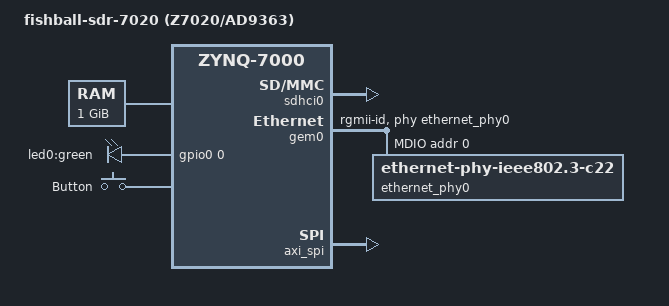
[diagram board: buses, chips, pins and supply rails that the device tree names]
// SPDX-License-Identifier: GPL-2.0
/*
 * fishball-sdr-7020: Zynq-7020 (xc7z020clg400-2) + AD9363, LVDS interface,
 * 1 GB DDR3 (32 bit), GbE (RGMII, Realtek PHY), SD card, 16 MB QSPI.
 *
 * Based on the ADI PlutoSDR device tree; board parameters from the
 * Fish-Wan plutosdr-fw-7020-SDR project.
 *
 * hdl_project: <boards/fishball/hdl>
 */
/dts-v1/;
#include "zynq-pluto-sdr.dtsi"
#include <dt-bindings/input/input.h>
#include <dt-bindings/gpio/gpio.h>
#include <dt-bindings/interrupt-controller/irq.h>

/ {
	model = "fishball-sdr-7020 (Z7020/AD9363)";
	compatible = "fishball,sdr-7020", "xlnx,zynq-7000";

	memory {
		device_type = "memory";
		reg = <0x00000000 0x40000000>;
	};

	aliases {
		ethernet0 = &gem0;
		mmc0 = &sdhci0;
	};

	leds {
		compatible = "gpio-leds";
		led0 {
			label = "led0:green";
			gpios = <&gpio0 0 GPIO_ACTIVE_HIGH>;
			linux,default-trigger = "heartbeat";
		};
	};

	gpio_keys {
		compatible = "gpio-keys";
		#address-cells = <1>;
		#size-cells = <0>;

		button {
			interrupt-parent = <&gpio0>;
			interrupts = <10 IRQ_TYPE_EDGE_FALLING>;
			label = "Button";
			linux,code = <BTN_MISC>;
		};
	};
};

&ad9364_clkin {
	clock-accuracy = <500>; /* ppb, as in the Fish-Wan board files */
};

&usb0 {
	xlnx,phy-reset-gpio = <&gpio0 46 GPIO_ACTIVE_LOW>;
};

&sdhci0 {
	status = "okay";
	disable-wp;
	broken-cd;
};

&gem0 {
	status = "okay";
	phy-mode = "rgmii-id";
	phy-handle = <&ethernet_phy0>;

	mdio {
		#address-cells = <1>;
		#size-cells = <0>;

		ethernet_phy0: ethernet-phy@0 {
			compatible = "ethernet-phy-ieee802.3-c22";
			reg = <0>;
		};
	};
};

/* 16 MB flash: shrink the Linux partition from Pluto's 30 MB */
&primary_flash {
	partition@qspi-linux {
		reg = <0x200000 0xE00000>; /* 14M */
	};
};

&fpga_axi {
	axi_spi: spi@7c430000 {
		#address-cells = <1>;
		#size-cells = <0>;
		bits-per-word = <8>;
		compatible = "xlnx,xps-spi-2.00.a";
		fifo-size = <16>;
		interrupt-parent = <&intc>;
		interrupts = <0 55 IRQ_TYPE_LEVEL_HIGH>;
		num-cs = <0x1>;
		reg = <0x7c430000 0x10000>;
		xlnx,num-ss-bits = <0x1>;
		xlnx,spi-mode = <0>;
	};
};

&adc0_ad9364 {
	/* LVDS interface instead of Pluto's CMOS */
	/delete-property/ adi,full-port-enable;
	/delete-property/ adi,digital-interface-tune-fir-disable;
	/delete-property/ adi,swap-ports-enable;

	adi,lvds-mode-enable;
	adi,lvds-bias-mV = <150>;
	adi,lvds-rx-onchip-termination-enable;
	adi,rx-data-delay = <4>;
	adi,tx-fb-clock-delay = <7>;
	adi,tx-data-delay = <9>;

	/* This property is controlled by u-boot environment. */
	adi,2rx-2tx-mode-enable;
};

&cf_ad9364_dac_core_0 {
	/* This property is controlled by u-boot environment. */
	compatible = "adi,axi-ad9361-dds-6.00.a";
};

/* DVB-S2 transmitter and receiver (dvbs2/): registers, their axi_dmac and
 * uncached buffers at the top of RAM (16 MB TX, 1 MB RX), exported to user
 * space (dvbs2-tx, dvbs2-rx) through one UIO device each. Needs
 * uio_pdrv_genirq.of_id=generic-uio on the command line. */
/ {
	reserved-memory {
		#address-cells = <1>;
		#size-cells = <1>;
		ranges;

		dvbs2_buffer: dvbs2-buffer@3f000000 {
			reg = <0x3f000000 0x01000000>;
			no-map;
		};

		dvbs2_rx_buffer: dvbs2-rx-buffer@3ef00000 {
			reg = <0x3ef00000 0x00100000>;
			no-map;
		};
	};
};

&fpga_axi {
	dvbs2-tx@7c500000 {
		compatible = "generic-uio";
		reg = <0x7c500000 0x10000>,     /* dvbs2_tx registers */
		      <0x7c480000 0x10000>,     /* axi_dmac (BBFRAME DMA) */
		      <0x3f000000 0x01000000>;  /* DMA buffer */
		interrupt-parent = <&intc>;
		interrupts = <0 54 IRQ_TYPE_LEVEL_HIGH>;
	};

	dvbs2-rx@7c510000 {
		compatible = "generic-uio";
		reg = <0x7c510000 0x10000>,     /* dvbs2_rx registers */
		      <0x7c490000 0x10000>,     /* axi_dmac (BBFRAME packets, stream -> memory) */
		      <0x3ef00000 0x00100000>;  /* DMA buffer */
		interrupt-parent = <&intc>;
		interrupts = <0 53 IRQ_TYPE_LEVEL_HIGH>;
	};
};
